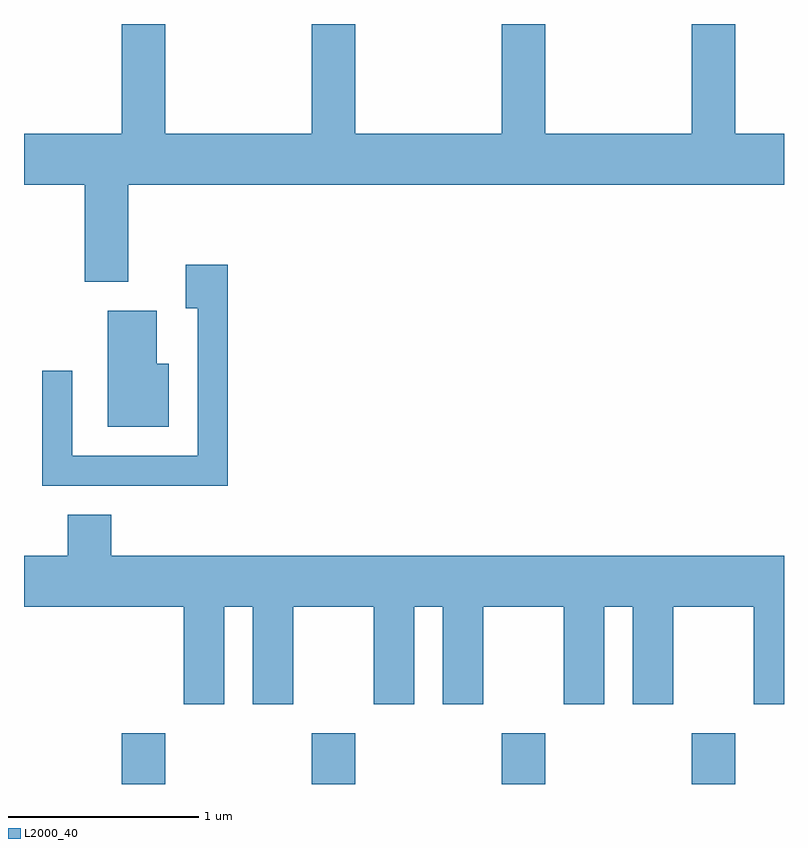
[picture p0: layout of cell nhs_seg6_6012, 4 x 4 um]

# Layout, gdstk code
import gdstk
lib = gdstk.Library(unit=1e-6, precision=1e-09)
def R(c, l, rs):  # rectangles x0, y0, x1, y1
    for r in rs: c.add(gdstk.rectangle(r[:2], r[2:], *l))
def A(c, l, x, y, w, h, nx, ny, dx, dy):  # array of equal rectangles
    R(c, l, [(x+i*dx, y+j*dy, x+i*dx+w, y+j*dy+h) for i in range(nx) for j in range(ny)])
def P(c, l, *ps):  # polygons
    for p in ps: c.add(gdstk.Polygon(p, *l))
L2000_40 = (2000, 40)

nhs_seg6_6012 = lib.new_cell('nhs_seg6_6012')
A(nhs_seg6_6012, L2000_40, 368.126, 1600.162, 0.228, 0.267, 4, 1, 1, 0)
P(nhs_seg6_6012, L2000_40, [(371.126,1604.162),(371.126,1603.584),(370.354,1603.584),(370.354,1604.162),(370.126,1604.162),(370.126,1603.584),(369.354,1603.584),(369.354,1604.162),(369.126,1604.162),(369.126,1603.584),(368.354,1603.584),(368.354,1604.162),(368.126,1604.162),(368.126,1603.584),(367.611,1603.584),(367.611,1603.316),(367.931,1603.316),(367.931,1602.806),(368.159,1602.806),(368.159,1603.316),(371.611,1603.316),(371.611,1603.584),(371.354,1603.584),(371.354,1604.162)],
  [(368.684,1602.894),(368.461,1602.894),(368.461,1602.666),(368.526,1602.666),(368.526,1601.889),(367.864,1601.889),(367.864,1602.338),(367.706,1602.338),(367.706,1601.731),(368.684,1601.731)],
  [(368.374,1602.374),(368.309,1602.374),(368.309,1602.654),(368.051,1602.654),(368.051,1602.041),(368.374,1602.041)],
  [(368.664,1601.096),(368.816,1601.096),(368.816,1600.581),(369.029,1600.581),(369.029,1601.096),(369.451,1601.096),(369.451,1600.581),(369.664,1600.581),(369.664,1601.096),(369.816,1601.096),(369.816,1600.581),(370.029,1600.581),(370.029,1601.096),(370.451,1601.096),(370.451,1600.581),(370.664,1600.581),(370.664,1601.096),(370.816,1601.096),(370.816,1600.581),(371.029,1600.581),(371.029,1601.096),(371.451,1601.096),(371.451,1600.581),(371.611,1600.581),(371.611,1601.364),(368.069,1601.364),(368.069,1601.579),(367.841,1601.579),(367.841,1601.364),(367.611,1601.364),(367.611,1601.096),(368.451,1601.096),(368.451,1600.581),(368.664,1600.581)])

lib.write_gds('nhs_seg6_6012.gds')
